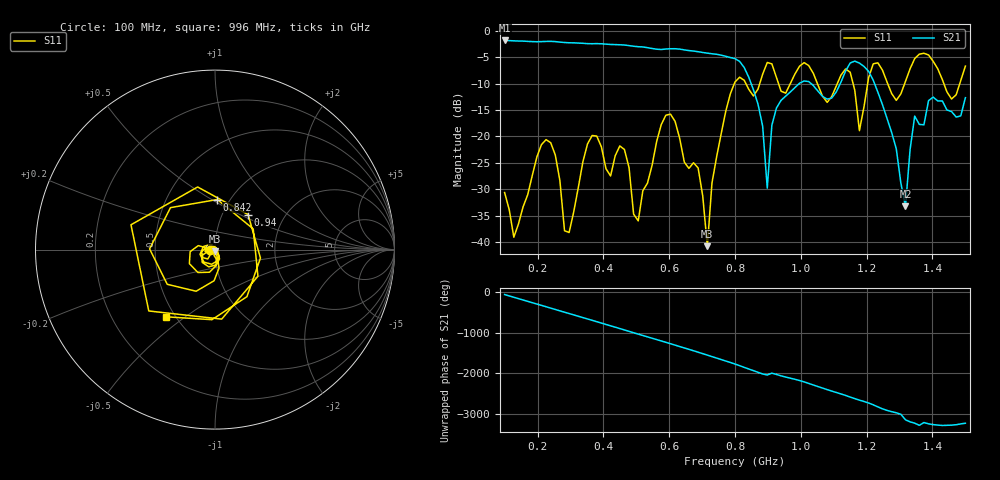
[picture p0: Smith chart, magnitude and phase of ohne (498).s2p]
! NanoVNA-App
! Date: 2025-09-25 14:24:40
! Start: 100MHz Stop: 1,5GHz Points: 101
! S-Parameter data: F S11 S21 S12 S22
# Hz S RI R 50
!  Frequency  S11_Real  S11_Imag  S21_Real  S21_Imag  S12_Real  S12_Imag  S22_Real  S22_Imag
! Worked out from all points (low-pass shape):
!   101 points, 100 MHz to 1.5 GHz, reference 50 ohm
!   highest |S21| = -1.79 dB at 100 MHz (marker M1); lowest = -33.3 dB at 1.318 GHz (marker M2)
!   |S21| within 3 dB of the highest: start of sweep to 771.8 MHz
!   lowest |S11| = -40.8 dB at 716 MHz (marker M3), VSWR 1.02, Z = 49.7 - j0.869 ohm
!   |S11| at or under -10 dB: start of sweep to 797.8 MHz; 833.3 MHz to 875 MHz (41.75 MHz wide, 4.89 % of centre); 1.051 GHz to 1.111 GHz (60.13 MHz wide, 5.56 % of centre) (the widest 3 of 7)
!   S12 and S22 are empty: the file has one direction only
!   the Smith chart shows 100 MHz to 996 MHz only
!   S11 on the Smith chart (normalised r, x): 100 MHz: 0.94, -0.01; 842 MHz: 0.88, +0.53; 940 MHz: 1.32, +0.56; 996 MHz: 0.45, -0.43
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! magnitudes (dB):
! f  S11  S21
! 100 MHz  -30.6  -1.8
! 128 MHz  -39.1  -1.9
! 226 MHz  -20.6  -2.0
! 296 MHz  -38.2  -2.2
! 338 MHz  -24.8  -2.3
! 464 MHz  -22.5  -2.7
! 506 MHz  -36.0  -3.0
! 576 MHz  -17.7  -3.5
! 688 MHz  -26.0  -3.9
! 716 MHz  -40.8  -4.2
! 800 MHz  -9.7  -5.2
! 842 MHz  -11.1  -8.8
! 898 MHz  -6.0  -29.8
! 940 MHz  -11.4  -13.1
! 996 MHz  -6.7  -9.9
! 1.038 GHz  -8.0  -10.3
! 1.178 GHz  -18.9  -6.1
! 1.22 GHz  -6.2  -9.3
! 1.276 GHz  -11.9  -19.2
! 1.318 GHz  -9.5  -33.3
! 1.346 GHz  -5.2  -16.1
! 1.5 GHz  -6.7  -12.6
